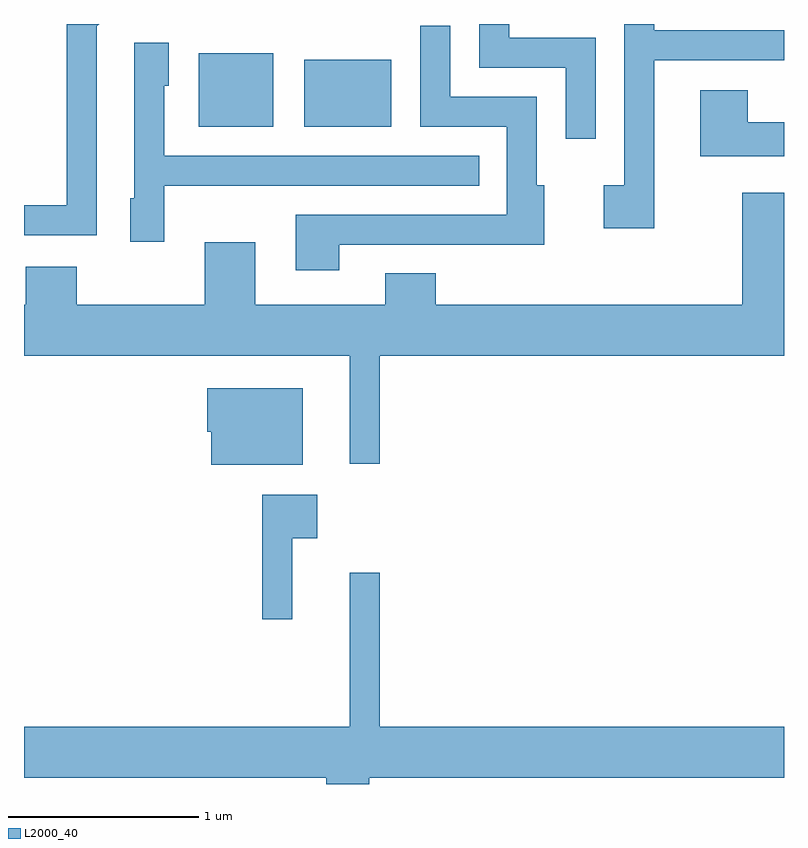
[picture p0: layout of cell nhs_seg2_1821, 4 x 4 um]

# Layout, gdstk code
import gdstk
lib = gdstk.Library(unit=1e-6, precision=1e-09)
def R(c, l, rs):  # rectangles x0, y0, x1, y1
    for r in rs: c.add(gdstk.rectangle(r[:2], r[2:], *l))
def P(c, l, *ps):  # polygons
    for p in ps: c.add(gdstk.Polygon(p, *l))
L2000_40 = (2000, 40)

nhs_seg2_1821 = lib.new_cell('nhs_seg2_1821')
R(nhs_seg2_1821, L2000_40, [(238.531,1087.261,238.924,1087.649), (239.086,1087.261,239.544,1087.614)])
P(nhs_seg2_1821, L2000_40, [(237.994,1087.789),(238.007,1087.802),(237.611,1087.802),(237.611,1087.801),(237.836,1087.801),(237.836,1086.849),(237.611,1086.849),(237.611,1086.691),(237.994,1086.691)],
  [(239.203,1087.802),(238.498,1087.802),(238.499,1087.801),(239.202,1087.801)],
  [(240.619,1087.729),(240.164,1087.729),(240.164,1087.802),(240.006,1087.802),(240.006,1087.571),(240.461,1087.571),(240.461,1087.198),(240.619,1087.198)],
  [(240.929,1087.611),(241.611,1087.611),(241.611,1087.769),(240.929,1087.769),(240.929,1087.802),(240.771,1087.802),(240.771,1086.954),(240.661,1086.954),(240.661,1086.726),(240.929,1086.726)],
  [(239.269,1086.641),(240.349,1086.641),(240.349,1086.954),(240.309,1086.954),(240.309,1087.419),(239.854,1087.419),(239.854,1087.793),(239.696,1087.793),(239.696,1087.261),(240.151,1087.261),(240.151,1086.799),(239.041,1086.799),(239.041,1086.506),(239.269,1086.506)],
  [(238.349,1086.951),(240.008,1086.951),(240.008,1087.109),(238.349,1087.109),(238.349,1087.476),(238.374,1087.476),(238.374,1087.704),(238.191,1087.704),(238.191,1086.884),(238.171,1086.884),(238.171,1086.656),(238.349,1086.656)],
  [(241.611,1087.284),(241.419,1087.284),(241.419,1087.454),(241.171,1087.454),(241.171,1087.106),(241.611,1087.106)],
  [(239.484,1086.056),(241.611,1086.056),(241.611,1086.914),(241.391,1086.914),(241.391,1086.324),(239.779,1086.324),(239.779,1086.489),(239.511,1086.489),(239.511,1086.324),(238.829,1086.324),(238.829,1086.654),(238.561,1086.654),(238.561,1086.324),(237.889,1086.324),(237.889,1086.524),(237.621,1086.524),(237.621,1086.324),(237.611,1086.324),(237.611,1086.056),(239.326,1086.056),(239.326,1085.488),(239.484,1085.488)],
  [(239.079,1085.884),(238.576,1085.884),(238.576,1085.656),(238.596,1085.656),(238.596,1085.481),(239.079,1085.481)],
  [(239.024,1085.096),(239.154,1085.096),(239.154,1085.324),(238.866,1085.324),(238.866,1084.668),(239.024,1084.668)],
  [(239.429,1083.836),(241.611,1083.836),(241.611,1084.104),(239.484,1084.104),(239.484,1084.913),(239.326,1084.913),(239.326,1084.104),(237.611,1084.104),(237.611,1083.836),(239.201,1083.836),(239.201,1083.802),(239.429,1083.802)])

lib.write_gds('nhs_seg2_1821.gds')
